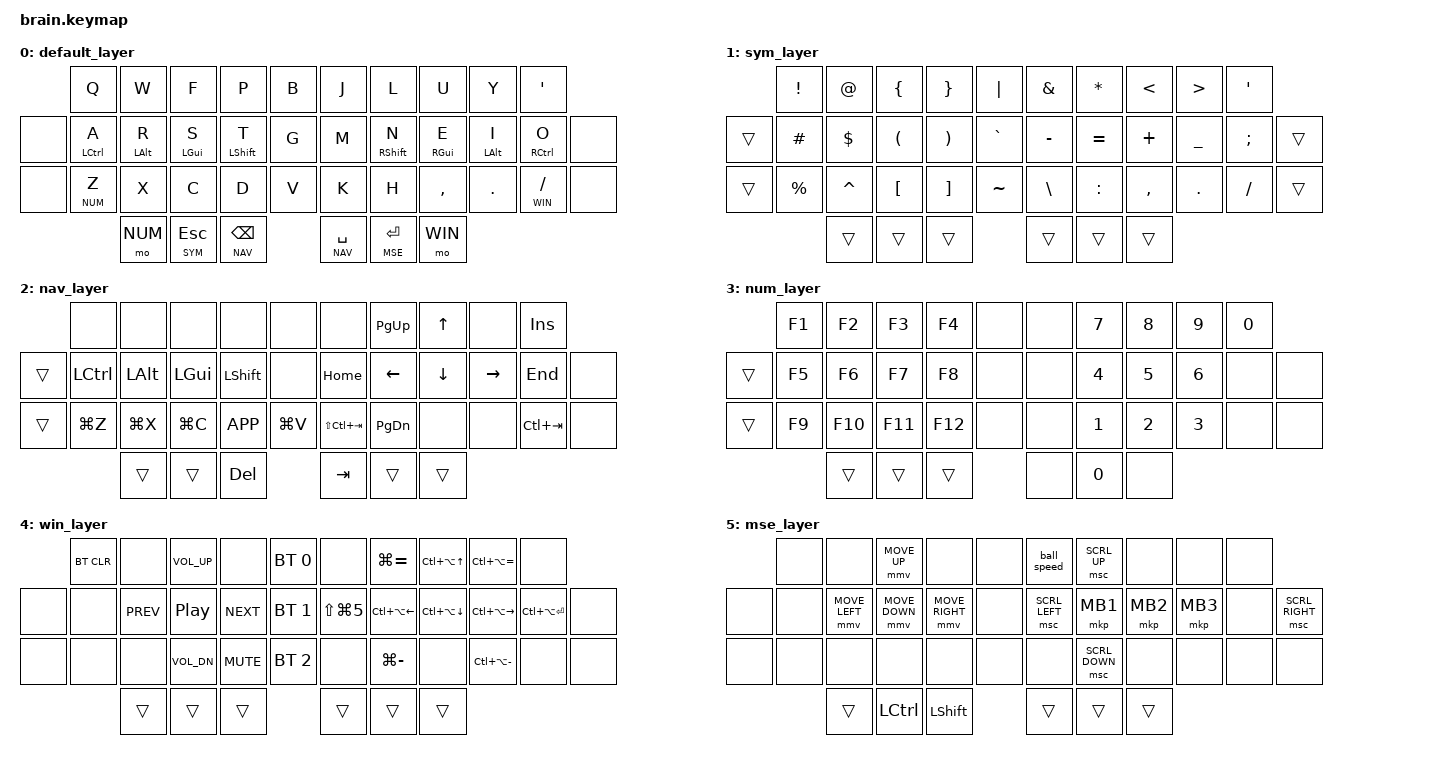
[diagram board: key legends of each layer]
/*
 * Copyright (c) 2020 The ZMK Contributors
 *
 * SPDX-License-Identifier: MIT
 */

#include <behaviors.dtsi>
#include <dt-bindings/zmk/keys.h>
#include <dt-bindings/zmk/bt.h>
#include <dt-bindings/zmk/outputs.h>
#include <dt-bindings/zmk/ext_power.h>
#include <dt-bindings/zmk/mouse.h>


#define DEFAULT 0
#define SYM     1
#define NAV     2
#define NUM     3
#define WIN     4
#define MSE     5

&lt {
  quick_tap_ms = <200>;
};

/ {
    behaviors {
        hm: homerow_mods {
            compatible = "zmk,behavior-hold-tap";
            label = "HOMEROW_MODS";
            #binding-cells = <2>;
            tapping-term-ms = <150>;
            quick-tap-ms = <200>;
            flavor = "tap-preferred";
            bindings = <&kp>, <&kp>;
        };
        hs: homerow_mods_slow {
            compatible = "zmk,behavior-hold-tap";
            label = "HOMEROW_MODS_SLOW";
            #binding-cells = <2>;
            tapping-term-ms = <200>;
            quick-tap-ms = <200>;
            flavor = "tap-preferred";
            bindings = <&kp>, <&kp>;
        };
        hf: homerow_mods_fast {
            compatible = "zmk,behavior-hold-tap";
            label = "HOMEROW_MODS_FAST";
            #binding-cells = <2>;
            tapping-term-ms = <110>;
            quick-tap-ms = <200>;
            flavor = "tap-preferred";
            bindings = <&kp>, <&kp>;
        };
    };

/*           40 Keys
╭─────────────────╮ ╭─────────────────╮
│    0  1  2  3  4│ │ 5  6  7  8  9   │
│10 11 12 13 14 15│ │16 17 18 19 20 21│
│22 23 24 25 26 27│ │28 29 30 31 32 33│
╰────────╮34 35 36│ │37 38 39╭────────╯
         ╰────────╯ ╰────────╯       */
    combos {
        compatible = "zmk,combos";

        combo_capsword {
              timeout-ms = <50>;
              key-positions = <14 17>;
              bindings = <&caps_word>;
        };
    };

    macros {
        ball_speed: ball_speed {
            label = "ball_speed";
            compatible = "zmk,behavior-macro";
            #binding-cells = <0>;
            bindings
                = <&macro_tap &kp CAPS &kp CAPS &kp NUM &kp NUM>
                ;
        };
    };

    keymap {
        compatible = "zmk,keymap";

                default_layer {
// -------------------------------------------------------------------------------------
// |      |  Q  |  W  |  F  |  P  |  B  |   |  J  |  L   |  U  |  Y  |  '  |           |
// |      |  A  |  R  |  S  |  T  |  G  |   |  M  |  N   |  E  |  I  |  O  |           |
// |      |  Z  |  X  |  C  |  D  |  V  |   |  K  |  H   |  ,  |  .  |  /  |           |
//                    | NUM | SYM | BSPC/NAV | SPC/NAV | WIN | MSE |
                        bindings = <
           &kp Q &kp W &kp F &kp P &kp B   &kp J &kp L  &kp U     &kp Y   &kp SQT
   &none   &hm LCTRL A &hs LALT R &hm LGUI S &hf LSHFT T &kp G   &kp M &hf RSHFT N  &hm RGUI E &hs LALT I &hm RCTRL O &none
   &none &lt NUM Z &kp X &kp C &kp D &kp V   &kp K &kp H  &kp COMMA &kp DOT &lt WIN FSLH &none
                        &mo NUM &lt SYM ESC &lt NAV BSPC &lt NAV SPACE &lt MSE RET &mo WIN
                        >;
                };

                sym_layer {
// ----------------------------------------------------------------------------
// |    |  !  |  @  |  {  |  }  | "|" |   |  &  |  *  |  <  |  >  |  '  |     |
// |    |  #  |  $  |  (  |  )  |  `  |   |  -  |  =  |  +  |  _  |  ;  |     |
// |    |  %  |  ^  |  [  |  ]  |  ~  |   |  /  |  ?  |  ,  |  .  |  /  |     |
//                       |     |     |     |    |     |
                        bindings = <
          &kp EXCL  &kp AT   &kp LBRC &kp RBRC &kp PIPE       &kp AMPS &kp ASTRK &kp LT  &kp GT  &kp SQT
   &trans &kp HASH  &kp DLLR &kp LPAR &kp RPAR &kp GRAVE      &kp MINUS &kp EQUAL &kp PLUS &kp UNDER &kp SEMI &trans
   &trans &kp PRCNT &kp CARET &kp LBKT &kp RBKT &kp TILDE     &kp BSLH &kp COLON &kp COMMA &kp DOT &kp FSLH &trans
                        &trans       &trans      &trans       &trans         &trans   &trans
                        >;
                };

                nav_layer {
// ----------------------------------------------------------------------------------
// |    |     |     |     |     |     |   |     |     | PGUP | UP |      | INS |     |
// |    | CTRL| ALT | GUI | SHFT|     |   |     | HOME| LEFT |DOWN|RIGHT | END |     |
// |    | UNDO| CUT |COPY | MENU| PSTE|   |     | <tab| PGDN |    |      | tab>|     |
//                       |     |     |     |    |     |
                        bindings = <
          &none     &none     &none     &none     &none         &none &kp PG_UP &kp UP &none &kp INS
   &trans &kp LCTRL &kp LALT  &kp LGUI  &kp LSHFT &none         &kp HOME &kp LEFT &kp DOWN &kp RIGHT &kp END &none
   &trans &kp LG(Z) &kp LG(X) &kp LG(C) &kp K_APP &kp LG(V)     &kp LS(LC(TAB)) &kp PG_DN &none &none &kp LC(TAB) &none
                        &trans       &trans      &kp DEL       &kp TAB        &trans     &trans
                        >;
                };

                num_layer {
// ----------------------------------------------------------------------------
// |    | F1  | F2  | F3  | F4  |     |   |     |  7  |  8  |  9  |  0  |     |
// |    | F5  | F6  | F7  | F8  |     |   |     |  4  |  5  |  6  |     |     |
// |    | F9  | F10 | F11 | F12 |     |   |     |  1  |  2  |  3  |     |     |
//                       |     |     |     |    |     |
                        bindings = <
          &kp F1    &kp F2    &kp F3    &kp F4    &none         &none     &kp N7    &kp N8    &kp N9    &kp N0
   &trans &kp F5    &kp F6    &kp F7    &kp F8    &none         &none     &kp N4    &kp N5    &kp N6    &none     &none
   &trans &kp F9    &kp F10   &kp F11   &kp F12   &none         &none     &kp N1    &kp N2    &kp N3    &none     &none
                        &trans      &trans      &trans          &none     &kp N0    &none
                        >;
                };


                win_layer {
// -----------------------------------------------------------------------------------------------------------------------------
// |       |  BT_CLR  |          | VOL_UP     |          |BT 0     |   |         | ZOOM +| WIN U | WIN LG  |         |        |
// |       |          | PREV     | PLAY       | NEXT     |BT 1     |   |SCRNSHOT | WIN L | WIN D | WIN R   |  FULL   |        |
// |       |          |          | VOL_DN     | MUTE     |BT 2     |   |         | ZOOM -|       | WIN SM  |         |        |
//                                              |     |     |     |     |     |
                        bindings = <
         &bt BT_CLR &none &kp C_VOL_UP &none &bt BT_SEL 0                    &none &kp LG(EQUAL) &kp LC(LA(UP)) &kp LC(LA(EQUAL)) &none
   &none &none &kp C_PREV &kp C_PP &kp C_NEXT &bt BT_SEL 1                   &kp LS(LG(N5)) &kp LC(LA(LEFT)) &kp LC(LA(DOWN)) &kp LC(LA(RIGHT)) &kp LC(LA(RET)) &none
   &none &none &none &kp C_VOL_DN &kp C_MUTE &bt BT_SEL 2                    &none &kp LG(MINUS) &none &kp LC(LA(MINUS)) &none &none
                        &trans     &trans      &trans       &trans        &trans      &trans
                        >;
                };

                mse_layer {
// ----------------------------------------------------------------------------
// |    |     |     | UP  |     |     |   | SPD | WHUP|     |     |     |     |
// |    |     | LEFT|DOWN |RIGHT|     |   | WHL | BTN1| BTN2| BTN3| WHR |     |
// |    |     |     |     |     |     |   |     | WHDN|     |     |     |     |
//                       |     |     |     |    |     |
                        bindings = <
          &none     &none &mmv MOVE_UP &none     &none         &ball_speed     &msc SCRL_UP    &none     &none     &none
   &none  &none     &mmv MOVE_LEFT &mmv MOVE_DOWN &mmv MOVE_RIGHT &none        &msc SCRL_LEFT &mkp MB1 &mkp MB2 &mkp MB3 &none  &msc SCRL_RIGHT
   &none  &none     &none     &none     &none     &none         &none     &msc SCRL_DOWN   &none     &none     &none     &none
                              &trans    &kp LCTRL &kp LSHFT     &trans    &trans   &trans
                        >;
                };
    };
};

